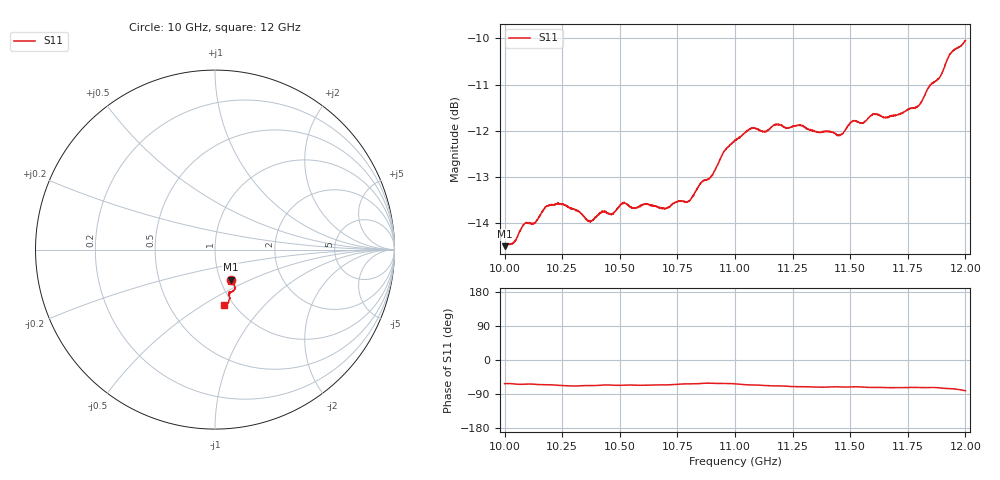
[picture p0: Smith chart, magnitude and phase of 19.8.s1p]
[Version] 2.0
! Rohde & Schwarz Vector Network Analyzer
! Rohde-Schwarz,ZNL20-2Port,1323001220200009,1.71.1.10-23.02.1.238
! Port Assignments:
! Nominal Port -> Actual Test Port
!  1 -> 1
! Created: GMT 2024-09-04 14:22:31
# Hz S DB R 50
[Number of Ports] 1
! freq[Hz]  S11[mag dB]  S11[ang]
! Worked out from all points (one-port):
!   2001 points, 10 GHz to 12 GHz, reference 50 ohm
!   lowest |S11| = -14.5 dB at 10 GHz (marker M1), VSWR 1.46, Z = 56 - j19.4 ohm
!   |S11| at or under -10 dB: start of sweep to end of sweep
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[Number of Frequencies] 28
[Network Data]
1e10  -14.49 -62.4
1.0001e10  -14.49 -62.4
1.0041e10  -14.39 -63.2
1.0088e10  -14.00 -63.9
1.0134e10  -13.97 -64.2
1.0182e10  -13.63 -65.1
1.025e10  -13.58 -67.4
1.0371e10  -13.96 -67.6
1.0424e10  -13.76 -66.2
1.0469e10  -13.78 -66.4
1.05e10  -13.61 -66.8
1.0697e10  -13.68 -65.6
1.075e10  -13.53 -64.2
1.0805e10  -13.50 -63.1
1.0872e10  -13.06 -61.1
1.1e10  -12.20 -63.0
1.1072e10  -11.93 -65.8
1.125e10  -11.90 -70.1
1.1373e10  -12.03 -71.7
1.1451e10  -12.09 -70.8
1.15e10  -11.82 -71.1
1.1605e10  -11.64 -72.3
1.1672e10  -11.69 -73.0
1.175e10  -11.54 -72.6
1.1797e10  -11.46 -72.7
1.1871e10  -10.93 -72.7
1.1951e10  -10.25 -76.3
1.2e10  -10.05 -81.0
[End]
